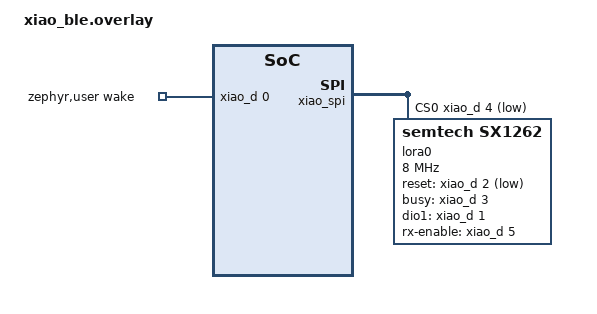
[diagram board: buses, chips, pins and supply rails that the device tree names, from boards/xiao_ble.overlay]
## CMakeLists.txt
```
# SPDX-License-Identifier: Apache-2.0

cmake_minimum_required(VERSION 3.20.0)

# Console (printf/logs) is already over USB CDC ACM: the xiao_ble board enables
# CONFIG_BOARD_SERIAL_BACKEND_CDC_ACM by default. Don't add the cdc-acm-console
# snippet on top: it creates a second, unexposed CDC ACM port and steals
# zephyr,console from the one the host actually sees.

find_package(Zephyr REQUIRED HINTS $ENV{ZEPHYR_BASE})
project(master_node)

target_sources(app PRIVATE src/main.c)
```

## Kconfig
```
# SPDX-License-Identifier: Apache-2.0
mainmenu "Basement surveillance master node"

source "Kconfig.zephyr"

menu "Basement LoRa sender"

config APP_LORA_DEMO
	bool "Periodically send a test ENTRY message"
	default y
	depends on APP_PERSISTENT_IDS
	help
	  Temporary demo only. Disable when replacing main with real application logic.

config APP_PERSISTENT_IDS
	bool "Flash-backed message ID allocator"
	default y
	select FLASH
	select FLASH_MAP
	select FLASH_PAGE_LAYOUT
	select NVS
	select NVS_DATA_CRC
	help
	  Reserve IDs in NVS before use so a reset skips unused IDs instead of reusing them.

config APP_DEVICE_ID
	int "Provisioned node ID (must differ between physical senders)"
	range 1 65535
	default 1

config APP_DEMO_INTERVAL_SECONDS
	int "Sleep after each completed or failed demo session, in seconds"
	range 1 86400
	default 60

config APP_LORA_FREQUENCY
	int "Carrier frequency in Hz (868.0..868.6 MHz profile)"
	range 868000000 868600000
	default 868100000

config APP_LORA_BANDWIDTH
	int "Bandwidth in Hz (125000, 250000 or 500000)"
	default 125000
	help
	  The entire channel must fit inside 868.0..868.6 MHz. Invalid bandwidths fail compilation.

config APP_LORA_SF
	int "Spreading factor (must match border router)"
	range 7 12
	default 7

config APP_LORA_TX_POWER
	int "Nominal transmitter power in dBm"
	range -9 14
	default 14
	help
	  Conservative power range; antenna gain and losses still determine radiated ERP.

config APP_LORA_DUTY_PERMILLE
	int "Sender TX duty fraction in parts per thousand (10 = 1%)"
	range 1 10
	default 10
	help
	  Applies to every DATA, END and retransmission, including failed TX attempts.

config APP_ROUTER_DUTY_PERMILLE
	int "Router TX duty fraction used to size the receive window"
	range 1 10
	default 10
	help
	  Must be no greater than the actual router fraction, otherwise deadlines can be too short.

config APP_ROUTER_QUIET_MS
	int "Router receive quiet period in milliseconds"
	range 0 60000
	default 350

config APP_LORA_FEEDBACK_TIMEOUT_MS
	int "Minimum feedback receive window, milliseconds"
	range 1000 3600000
	default 20000
	help
	  The actual window is increased if the maximum NACK airtime, router duty spacing
	  and quiet period require longer. Each retry listens continuously for this window.

config APP_LORA_END_ATTEMPTS
	int "Maximum END/feedback rounds per message"
	range 1 512
	default 8

config APP_LORA_PACKET_ATTEMPTS
	int "Maximum TX attempts after an I/O error for each DATA or END packet"
	range 1 8
	default 2

endmenu
```

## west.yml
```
# West workspace manifest: pins the Zephyr version for everyone (devcontainer + CI).
# Only the modules this board needs are fetched, to keep the download small.
manifest:
  self:
    path: master-node

  remotes:
    - name: zephyrproject-rtos
      url-base: https://github.com/zephyrproject-rtos

  projects:
    - name: zephyr
      remote: zephyrproject-rtos
      revision: v4.4.2
      import:
        name-allowlist:
          - cmsis_6
          - hal_nordic
          - loramac-node
```

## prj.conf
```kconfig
# LoRa radio (Wio-SX1262, see boards/xiao_ble.overlay)
CONFIG_LORA=y
CONFIG_GPIO=y
CONFIG_PRINTK=y
CONFIG_BOOT_DELAY=5000

CONFIG_LOG=y
CONFIG_LOG_DEFAULT_LEVEL=3
# Hide the USB driver's INF chatter (Reset / SUSPEND / RESUMING); keep warnings
<<<<<<< Updated upstream
CONFIG_UDC_DRIVER_LOG_LEVEL_WRN=y
=======
CONFIG_UDC_DRIVER_LOG_LEVEL_WRN=y



CONFIG_GPIO=y
CONFIG_PRINTK=y
CONFIG_BOOT_DELAY=5000
>>>>>>> Stashed changes
```

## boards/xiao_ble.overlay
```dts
/*
 * Wio-SX1262 LoRa module on the XIAO nRF52840.
 *
 * Module stacked on the XIAO pin headers, as shipped in Seeed's
 * "XIAO nRF52840 + Wio-SX1262" kit (same pinout as Meshtastic variant
 * seeed_xiao_nrf52840_kit). The Wio-SX1262 from the XIAO ESP32-S3 kit is wired
 * differently, so don't swap modules between kits without changing these pins.
 */

#include <zephyr/dt-bindings/lora/sx126x.h>
#include <zephyr/dt-bindings/gpio/gpio.h>

/ {
	zephyr,user {
		wake-gpios = <&xiao_d 0 GPIO_ACTIVE_HIGH>;
	};

	aliases {
		lora0 = &lora0;
	};
};

&xiao_spi {
	status = "okay";
	cs-gpios = <&xiao_d 4 GPIO_ACTIVE_LOW>;		/* D4: NSS */

	lora0: lora@0 {
		compatible = "semtech,sx1262";
		reg = <0>;
		spi-max-frequency = <DT_FREQ_M(8)>;
		reset-gpios = <&xiao_d 2 GPIO_ACTIVE_LOW>;	/* D2 */
		busy-gpios = <&xiao_d 3 GPIO_ACTIVE_HIGH>;	/* D3 */
		dio1-gpios = <&xiao_d 1 GPIO_ACTIVE_HIGH>;	/* D1 */
		rx-enable-gpios = <&xiao_d 5 GPIO_ACTIVE_HIGH>;	/* D5: RF switch RX side */
		dio2-tx-enable;					/* DIO2 drives RF switch TX side */
		dio3-tcxo-voltage = <SX126X_DIO3_TCXO_1V8>;
		tcxo-power-startup-delay-ms = <5>;
	};
};
```

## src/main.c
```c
/*
 * Copyright (c) 2012-2014 Wind River Systems, Inc.
 *
 * SPDX-License-Identifier: Apache-2.0
 */

#include <zephyr/device.h>
#include <zephyr/kernel.h>
#include <zephyr/drivers/gpio.h>
#include <zephyr/sys/util.h>
#include <zephyr/logging/log.h>

LOG_MODULE_REGISTER(master_node, LOG_LEVEL_DBG);

#define LED DT_ALIAS(led0)
#define PIR DT_PATH(zephyr_user)

static const struct gpio_dt_spec led = GPIO_DT_SPEC_GET(LED, gpios);
static const struct gpio_dt_spec wake_pin = GPIO_DT_SPEC_GET(PIR, wake_gpios);

K_SEM_DEFINE(wake_sem,0,1);

static struct gpio_callback wake_cb;

static void wake_interrupt(const struct device* port, struct gpio_callback* cb, gpio_port_pins_t pins){
	ARG_UNUSED(port);
	ARG_UNUSED(cb);
	ARG_UNUSED(pins);

	k_sem_give(&wake_sem);
}

int main(void)
{
	if(!gpio_is_ready_dt(&led) || !gpio_is_ready_dt(&wake_pin)){
		LOG_DBG("Error 0");
		return -1;
	}

	if(gpio_pin_configure_dt(&led, GPIO_OUTPUT_INACTIVE)) {
		LOG_DBG("Error 1");
		return -1;
	}
	if(gpio_pin_configure_dt(&wake_pin, GPIO_INPUT | GPIO_PULL_DOWN)) {
		LOG_DBG("Error 2");
		return -1;
	}

	gpio_init_callback(&wake_cb, wake_interrupt, BIT(wake_pin.pin));
	if(gpio_add_callback(wake_pin.port ,&wake_cb)) {
		LOG_DBG("Error 3");
		return -1;
	}
	if(gpio_pin_interrupt_configure_dt(&wake_pin, GPIO_INT_EDGE_TO_ACTIVE)) {
		LOG_DBG("Error 4");
		return -1;
	}
	
	LOG_INF("master-node up on %s", CONFIG_BOARD_TARGET);

	while(true){
		k_sem_take(&wake_sem, K_FOREVER);

		gpio_pin_set_dt(&led, 1);
		LOG_DBG("Sensed movement");
		k_msleep(2000);
		gpio_pin_set_dt(&led, 0);
	}

	return 0;
}
```

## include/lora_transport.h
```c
/* SPDX-License-Identifier: Apache-2.0 */
#ifndef BS_LORA_TRANSPORT_H
#define BS_LORA_TRANSPORT_H

#include "tx_session.h"

/** Initialize the lora0 SX1262 using Kconfig modulation and the existing board overlay.
 * @return Zero on success; negative errno for absent hardware, unsupported settings or readback failure.
 * Call once from thread context before sending. This component owns the radio exclusively.
 */
int bs_lora_init(void);

/** Deliver an arbitrary binary body using bounded DATA/END/ACK/NACK exchange.
 * @param kind ENTRY, IMAGE or TELEMETRY.
 * @param device_id Provisioned sender identity, unique among nodes.
 * @param message_id Unique application ID, retained across all internal retransmissions.
 * @param data Immutable body kept alive until this blocking call returns.
 * @param size Nonzero body length, up to BS_MESSAGE_MAX.
 * @param result Output delivery statistics; delivery succeeds only after a matching ACK.
 * @return Zero after durable router receipt; negative errno on timeout/error, -EBUSY if another
 *         application thread is already using this radio. Call from thread context, never an ISR.
 */
int bs_lora_send_message(uint8_t kind, uint16_t device_id, uint32_t message_id,
			 const uint8_t *data, size_t size, struct bs_tx_result *result);
#endif
```

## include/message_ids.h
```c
/* SPDX-License-Identifier: Apache-2.0 */
#ifndef BS_MESSAGE_IDS_H
#define BS_MESSAGE_IDS_H
#include <stdint.h>

/** Mount the board's existing storage partition for persistent ID reservations.
 * @return Zero on success, negative errno on corrupt/unavailable storage. Never silently resets IDs.
 */
int bs_message_ids_init(void);

/** Reserve a never-before-issued message ID, committing blocks before exposing IDs.
 * @param message_id Output ID. Serialize callers; the demo calls this only from main.
 * @return Zero on success, negative errno on flash failure or sequence exhaustion.
 * A reset skips unused reserved IDs. Erasing/replacing flash requires reprovisioning the device ID.
 */
int bs_message_id_next(uint32_t *message_id);
#endif
```

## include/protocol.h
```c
/* SPDX-License-Identifier: Apache-2.0 */
#ifndef BS_PROTOCOL_H
#define BS_PROTOCOL_H

#include <stddef.h>
#include <stdint.h>

#define BS_PROTOCOL_VERSION 1U
#define BS_HEADER_SIZE 22U
#define BS_RADIO_MAX 255U
#define BS_PART_MAX (BS_RADIO_MAX - BS_HEADER_SIZE)
#define BS_PART_DEFAULT 200U
#define BS_NACK_MAX 32U
#define BS_CONTROL_MAX (BS_HEADER_SIZE + 1U + 2U * BS_NACK_MAX)
/* Match the actual Python MessageStore limits, not just the wire field widths. */
#define BS_MESSAGE_MAX 1000000U
#define BS_FRAGMENT_MAX 10000U

enum bs_kind {
	BS_ENTRY = 1, BS_IMAGE = 2, BS_TELEMETRY = 3,
	BS_ACK = 4, BS_NACK = 5, BS_END = 6,
};

/** Immutable metadata for one send session; never serialize this native struct directly. */
struct bs_message {
	uint32_t message_id;
	uint32_t total_size;
	uint32_t crc32;
	uint16_t device_id;
	uint16_t count;
	uint16_t part_size;
	uint8_t kind;
};

struct bs_feedback {
	uint16_t missing[BS_NACK_MAX];
	uint8_t missing_count;
	uint8_t kind;
};

/** CRC32/ISO-HDLC (reflected polynomial 0xedb88320), identical to zlib.crc32().
 * @param data Input bytes; may be NULL only when size is zero.
 * @param size Number of input bytes.
 * @return Complete body checksum; empty input yields zero.
 */
uint32_t bs_crc32(const uint8_t *data, size_t size);

/** Validate a nonempty application body and compute stable fragmentation metadata.
 * @param message Output metadata, valid only on success.
 * @param kind ENTRY, IMAGE or TELEMETRY.
 * @param device_id Provisioned sender identity.
 * @param message_id Unique ID reserved before sending, reused for all retries.
 * @param data Body that must remain unchanged for the complete session.
 * @param size Body length, at most BS_MESSAGE_MAX bytes.
 * @param part_size DATA payload length, 1..BS_PART_MAX (normally 200).
 * @return Zero on success, -EINVAL for invalid arguments, -EMSGSIZE for receiver limits.
 */
int bs_message_init(struct bs_message *message, uint8_t kind, uint16_t device_id,
		    uint32_t message_id, const uint8_t *data, size_t size, uint16_t part_size);

/** Encode one DATA frame, using explicit big-endian byte operations.
 * @param message Metadata initialized by bs_message_init().
 * @param data Unchanged full application body.
 * @param size Body length matching the metadata.
 * @param index Zero-based DATA fragment index.
 * @param frame Output packet buffer.
 * @param capacity Available output buffer bytes.
 * @return Encoded frame length or a negative errno value.
 */
int bs_encode_data(const struct bs_message *message, const uint8_t *data, size_t size,
		   uint16_t index, uint8_t *frame, size_t capacity);

/** Encode an END referencing the full message.
 * @param message Validated pending-message metadata.
 * @param frame Output packet buffer.
 * @param capacity Available output bytes (at least 23).
 * @return Encoded length or a negative errno value.
 */
int bs_encode_end(const struct bs_message *message, uint8_t *frame, size_t capacity);

/** Decode ACK/NACK and require every identity/size/checksum field to match.
 * @param message Pending-message metadata.
 * @param frame Received binary radio payload.
 * @param size Received byte count.
 * @param feedback Output ACK or sorted, bounded NACK indices, valid only on success.
 * @return Zero on success; -ENOMSG for another message, -EBADMSG for malformed frames,
 *         or -EINVAL for invalid caller arguments.
 */
int bs_decode_feedback(const struct bs_message *message, const uint8_t *frame, size_t size,
		       struct bs_feedback *feedback);
#endif
```

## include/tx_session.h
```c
/* SPDX-License-Identifier: Apache-2.0 */
#ifndef BS_TX_SESSION_H
#define BS_TX_SESSION_H

#include "protocol.h"
#include <stdint.h>

enum bs_tx_event {
	BS_TX_END, BS_TX_ACK, BS_TX_NACK, BS_TX_MISSING,
	BS_TX_TIMEOUT, BS_TX_IO_ERROR, BS_TX_IGNORED,
};

/** Blocking transport contract. send() includes duty scheduling and charges failed attempts.
 * recv() returns a packet length, -ETIMEDOUT/-EAGAIN, or another negative errno.
 * now_ms() is monotonic. event() is optional and must not access the radio.
 */
struct bs_tx_io {
	void *context;
	int (*send)(void *context, const uint8_t *frame, size_t size);
	int (*recv)(void *context, uint8_t *frame, size_t capacity, uint32_t timeout_ms);
	uint64_t (*now_ms)(void *context);
	void (*event)(void *context, enum bs_tx_event event, int detail);
};

struct bs_tx_options {
	uint32_t feedback_timeout_ms;
	uint16_t part_size;
	uint16_t max_end_attempts;
	uint8_t max_packet_attempts;
};

struct bs_tx_result {
	uint32_t data_attempts;
	uint32_t end_attempts;
	uint32_t ignored_feedback;
	uint16_t fragment_count;
};

/** Compute conservative start-to-start spacing, rounded up in milliseconds.
 * @param airtime_ms Planned TX duration including timing margin.
 * @param duty_permille Allowed fraction in 1..1000; e.g. 10 means 1%.
 * @return Minimum spacing, or zero for invalid duty/zero airtime.
 * The transport charges spacing minus airtime AFTER completion, even on TX failure.
 */
uint64_t bs_tx_spacing_ms(uint32_t airtime_ms, uint16_t duty_permille);

/** Send one whole message, retaining its IDs and checksum across every retransmission.
 * @param io Single-owner blocking radio adapter, or a host fake implementing the contract.
 * @param options Bounded retry counts, fragmentation and a duty-aware feedback deadline.
 * @param kind ENTRY, IMAGE or TELEMETRY.
 * @param device_id Provisioned node identity.
 * @param message_id Persistently reserved ID; not changed by this function.
 * @param data Unchanged body, kept alive until this blocking call returns.
 * @param size Nonzero application byte count.
 * @param result Output counters, including unsuccessful TX attempts.
 * @return Zero ONLY after a matching ACK; -ETIMEDOUT on exhausted END rounds,
 *         transport errno on unrecovered I/O failure, or protocol argument errors.
 * This API owns no queue or thread. A future queue can invoke it from its own worker.
 */
int bs_tx_send(const struct bs_tx_io *io, const struct bs_tx_options *options,
	       uint8_t kind, uint16_t device_id, uint32_t message_id,
	       const uint8_t *data, size_t size, struct bs_tx_result *result);
#endif
```

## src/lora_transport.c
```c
/* SPDX-License-Identifier: Apache-2.0 */
#include "lora_transport.h"

#include <errno.h>
#include <limits.h>
#include <string.h>
#include <zephyr/device.h>
#include <zephyr/drivers/lora.h>
#include <zephyr/kernel.h>
#include <zephyr/logging/log.h>
#include <zephyr/sys/util.h>
/* Existing exports from Zephyr 4.4.2 drivers/lora/loramac-node/sx126x.c.
 * Keep this exact backend dependency isolated; no application SPI/GPIO ownership.
 */
extern void SX126xWriteRegisters(uint16_t address, uint8_t *buffer, uint16_t size);
extern void SX126xReadRegisters(uint16_t address, uint8_t *buffer, uint16_t size);

LOG_MODULE_REGISTER(bs_lora, LOG_LEVEL_INF);

BUILD_ASSERT(IS_ENABLED(CONFIG_LORA_MODULE_BACKEND_LORAMAC_NODE),
	     "The custom sync-word adapter requires the pinned LoRaMac-node backend");
BUILD_ASSERT(DT_NODE_HAS_COMPAT(DT_ALIAS(lora0), semtech_sx1262), "lora0 must be an SX1262");

#if CONFIG_APP_LORA_BANDWIDTH == 125000
#define APP_BANDWIDTH BW_125_KHZ
#elif CONFIG_APP_LORA_BANDWIDTH == 250000
#define APP_BANDWIDTH BW_250_KHZ
#elif CONFIG_APP_LORA_BANDWIDTH == 500000
#define APP_BANDWIDTH BW_500_KHZ
#else
#error "APP_LORA_BANDWIDTH must be 125000, 250000 or 500000"
#endif

static const struct device *const radio = DEVICE_DT_GET(DT_ALIAS(lora0));
static struct lora_modem_config modem = {
	.frequency = CONFIG_APP_LORA_FREQUENCY,
	.bandwidth = APP_BANDWIDTH,
	.datarate = CONFIG_APP_LORA_SF,
	.coding_rate = CR_4_5,
	.preamble_len = 12,
	.tx_power = CONFIG_APP_LORA_TX_POWER,
	.tx = true,
	.iq_inverted = false,
	.public_network = false,
	.packet_crc_disable = false,
};
static K_MUTEX_DEFINE(session_lock);
static uint64_t next_tx_ms;
static uint32_t feedback_timeout_ms;
static uint16_t part_size;
static bool initialized;

/* lora_config() puts the chip into warm sleep. The pinned register accessors wake it
 * through the driver's own SPI/GPIO implementation and retain these settings across
 * subsequent warm sleeps. This is the ONLY use of a backend-specific API.
 * Zephyr 4.4.2's public bool public_network cannot represent raw 0x0741.
 */
static int configure(bool tx)
{
	modem.tx = tx;
	int ret = lora_config(radio, &modem);

	if (ret < 0) {
		return ret;
	}
	uint8_t desired[] = {0x07, 0x41};
	uint8_t actual[2] = {0};

	SX126xWriteRegisters(0x0740, desired, sizeof(desired));
	SX126xReadRegisters(0x0740, actual, sizeof(actual));
	if (memcmp(desired, actual, sizeof(actual)) != 0) {
		LOG_ERR("Sync word readback failed: %02x%02x", actual[0], actual[1]);
		return -EIO;
	}
	return 0;
}

static uint64_t now_ms(void *context)
{
	ARG_UNUSED(context);
	return (uint64_t)k_uptime_get();
}

static int send_frame(void *context, const uint8_t *frame, size_t size)
{
	ARG_UNUSED(context);
	if (frame == NULL || size == 0 || size > BS_RADIO_MAX) {
		return -EINVAL;
	}
	uint64_t now = now_ms(NULL);

	if (now < next_tx_ms) {
		LOG_INF("Duty-cycle delay: %llu ms", (unsigned long long)(next_tx_ms - now));
		k_msleep((int64_t)(next_tx_ms - now));
	}
	int ret = configure(true);

	if (ret < 0) {
		return ret;
	}
	/* The driver queries its actual configured modulation. Round up and include
	 * oscillator/PA/timing margin. Failed transmissions consume the same allowance.
	 */
	uint32_t airtime_ms = lora_airtime(radio, (uint32_t)size) + 5U;
	uint8_t packet[BS_RADIO_MAX];

	memcpy(packet, frame, size);
	ret = lora_send(radio, packet, (uint32_t)size);
	/* Charge from completion, which is conservative if the call returned early.
	 * Strict spacing bounds TX duty without keeping an hourly packet ledger.
	 */
	next_tx_ms = now_ms(NULL) + bs_tx_spacing_ms(airtime_ms, CONFIG_APP_LORA_DUTY_PERMILLE) -
		     airtime_ms;
	return ret;
}

static int receive_frame(void *context, uint8_t *frame, size_t capacity, uint32_t timeout_ms)
{
	ARG_UNUSED(context);
	if (capacity == 0 || capacity > BS_RADIO_MAX || timeout_ms == 0) {
		return -EINVAL;
	}
	uint64_t deadline = now_ms(NULL) + timeout_ms;
	int ret = configure(false);

	if (ret < 0) {
		return ret;
	}
	uint64_t now = now_ms(NULL);

	if (now >= deadline) {
		return -ETIMEDOUT;
	}
	int16_t rssi;
	int8_t snr;

	ret = lora_recv(radio, frame, (uint8_t)capacity, K_MSEC(deadline - now), &rssi, &snr);
	/* The pinned backend returns -EAGAIN when k_poll times out. Each subsequent
	 * operation reconfigures the released modem, recovering ordinary TX/RX timeouts.
	 */
	if (ret > 0) {
		LOG_DBG("RX %d bytes RSSI=%d SNR=%d", ret, rssi, snr);
	}
	return ret;
}

static void session_event(void *context, enum bs_tx_event event, int detail)
{
	ARG_UNUSED(context);
	switch (event) {
	case BS_TX_END:
		LOG_INF("END attempt %d/%d", detail, CONFIG_APP_LORA_END_ATTEMPTS);
		break;
	case BS_TX_ACK:
		LOG_INF("Matching ACK received (round %d)", detail);
		break;
	case BS_TX_NACK:
		LOG_INF("Matching NACK requests %d fragments", detail);
		break;
	case BS_TX_MISSING:
		LOG_INF("Retransmitting missing fragment %d", detail);
		break;
	case BS_TX_TIMEOUT:
		LOG_WRN("Feedback timeout after END round %d; retry END only", detail);
		break;
	case BS_TX_IO_ERROR:
		LOG_WRN("Packet TX failed: %d; bounded retry", detail);
		break;
	case BS_TX_IGNORED:
		LOG_DBG("Ignored malformed/unrelated feedback (%d bytes)", detail);
		break;
	}
}

int bs_lora_init(void)
{
	if (initialized) {
		return -EALREADY;
	}
	if (!device_is_ready(radio)) {
		LOG_ERR("lora0 is not ready; check the overlay, BUSY, DIO1 and power");
		return -ENODEV;
	}
	if (CONFIG_APP_LORA_FREQUENCY - CONFIG_APP_LORA_BANDWIDTH / 2 < 868000000 ||
	    CONFIG_APP_LORA_FREQUENCY + CONFIG_APP_LORA_BANDWIDTH / 2 > 868600000) {
		LOG_ERR("Configured channel does not fit the 868.0..868.6 MHz duty profile");
		return -EINVAL;
	}
	int ret = configure(true);

	if (ret < 0) {
		return ret;
	}
	/* On reboot there is no trustworthy elapsed wall time. Wait a full maximum-
	 * packet spacing so cycling power cannot shorten the previous TX's off-time.
	 */
	/* The pinned backend gives Radio.SetTxConfig a 4000 ms software timeout.
	 * Keep DATA below 3750 ms at slow SFs rather than changing private timer state.
	 * Fragment size is not part of the PHY settings and is legal in protocol v1.
	 */
	part_size = BS_PART_DEFAULT;
	while (part_size > 1U && lora_airtime(radio, BS_HEADER_SIZE + part_size) > 3750U) {
		--part_size;
	}
	if (lora_airtime(radio, BS_HEADER_SIZE + part_size) > 3750U) {
		return -ENOTSUP;
	}
	uint32_t max_airtime = lora_airtime(radio, BS_RADIO_MAX) + 5U;

	next_tx_ms = now_ms(NULL) + bs_tx_spacing_ms(max_airtime, CONFIG_APP_LORA_DUTY_PERMILLE);
	/* A preceding maximum-size NACK can defer the router's next feedback. Include
	 * its default 1% spacing, quiet time, response airtime and scheduling margin.
	 */
	uint32_t reply_airtime = lora_airtime(radio, BS_CONTROL_MAX) + 5U;
	uint64_t reply_window = bs_tx_spacing_ms(reply_airtime, CONFIG_APP_ROUTER_DUTY_PERMILLE) +
				 reply_airtime + CONFIG_APP_ROUTER_QUIET_MS + 2000U;

	if (reply_window > UINT32_MAX) {
		return -ERANGE;
	}
	feedback_timeout_ms = MAX(CONFIG_APP_LORA_FEEDBACK_TIMEOUT_MS, (uint32_t)reply_window);
	initialized = true;
	LOG_INF("SX1262 %u Hz SF%d BW%u CR4/5 sync=0741 preamble=12 CRC=on",
		CONFIG_APP_LORA_FREQUENCY, CONFIG_APP_LORA_SF, CONFIG_APP_LORA_BANDWIDTH);
	LOG_INF("TX duty=%d/1000; feedback window=%u ms; boot guard=%u ms; DATA chunk=%u",
		CONFIG_APP_LORA_DUTY_PERMILLE, feedback_timeout_ms,
		(uint32_t)(next_tx_ms - now_ms(NULL)), part_size);
	return 0;
}

int bs_lora_send_message(uint8_t kind, uint16_t device_id, uint32_t message_id,
			 const uint8_t *data, size_t size, struct bs_tx_result *result)
{
	if (!initialized) {
		return -ENODEV;
	}
	if (k_mutex_lock(&session_lock, K_NO_WAIT) != 0) {
		return -EBUSY;
	}
	const struct bs_tx_io io = {
		.send = send_frame, .recv = receive_frame, .now_ms = now_ms, .event = session_event,
	};
	const struct bs_tx_options options = {
		.feedback_timeout_ms = feedback_timeout_ms,
		.part_size = part_size,
		.max_end_attempts = CONFIG_APP_LORA_END_ATTEMPTS,
		.max_packet_attempts = CONFIG_APP_LORA_PACKET_ATTEMPTS,
	};
	int ret = bs_tx_send(&io, &options, kind, device_id, message_id, data, size, result);

	k_mutex_unlock(&session_lock);
	return ret;
}
```

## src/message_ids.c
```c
/* SPDX-License-Identifier: Apache-2.0 */
#include "message_ids.h"

#include <errno.h>
#include <stdbool.h>
#include <zephyr/drivers/flash.h>
#include <zephyr/kvss/nvs.h>
#include <zephyr/storage/flash_map.h>
#include <zephyr/sys/byteorder.h>

#define ID_RECORD 1U
#define RESERVATION_SIZE 32U

static struct nvs_fs ids;
static uint32_t next_id;
static uint32_t reserved_until;
static bool mounted;

int bs_message_ids_init(void)
{
	if (mounted) {
		return -EALREADY;
	}
	const struct flash_area *area;
	struct flash_pages_info page;
	int ret = flash_area_open(PARTITION_ID(storage_partition), &area);

	if (ret < 0) {
		return ret;
	}
	ids.flash_device = area->fa_dev;
	ids.offset = area->fa_off;
	ret = flash_get_page_info_by_offs(ids.flash_device, ids.offset, &page);
	if (ret == 0 && (area->fa_size / page.size < 2U || area->fa_size % page.size != 0 ||
			 area->fa_size / page.size > UINT16_MAX)) {
		ret = -EINVAL;
	}
	if (ret == 0) {
		ids.sector_size = page.size;
		ids.sector_count = area->fa_size / page.size;
		ret = nvs_mount(&ids);
	}
	flash_area_close(area);
	if (ret < 0) {
		return ret;
	}
	uint8_t value[4];
	ssize_t bytes = nvs_read(&ids, ID_RECORD, value, sizeof(value));

	if (bytes == -ENOENT) {
		next_id = 1;
	} else if (bytes != (ssize_t)sizeof(value)) {
		return bytes < 0 ? (int)bytes : -EIO;
	} else {
		next_id = sys_get_le32(value);
		if (next_id == 0) {
			return -EIO;
		}
	}
	reserved_until = next_id;
	mounted = true;
	return 0;
}

int bs_message_id_next(uint32_t *message_id)
{
	if (!mounted || message_id == NULL) {
		return -EINVAL;
	}
	if (next_id == reserved_until) {
		if (next_id > UINT32_MAX - RESERVATION_SIZE) {
			return -EOVERFLOW;
		}
		uint8_t value[4];
		uint32_t high_water = next_id + RESERVATION_SIZE;

		sys_put_le32(high_water, value);
		ssize_t ret = nvs_write(&ids, ID_RECORD, value, sizeof(value));

		if (ret < 0) {
			return (int)ret;
		}
		if (ret != 0 && ret != (ssize_t)sizeof(value)) {
			return -EIO;
		}
		reserved_until = high_water;
	}
	*message_id = next_id++;
	return 0;
}
```

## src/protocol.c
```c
/* SPDX-License-Identifier: Apache-2.0 */
#include "protocol.h"

#include <errno.h>
#include <stdbool.h>

static uint16_t get16(const uint8_t *p)
{
	return ((uint16_t)p[0] << 8) | p[1];
}

static uint32_t get32(const uint8_t *p)
{
	return ((uint32_t)p[0] << 24) | ((uint32_t)p[1] << 16) |
	       ((uint32_t)p[2] << 8) | p[3];
}

static void put16(uint8_t *p, uint16_t value)
{
	p[0] = (uint8_t)(value >> 8);
	p[1] = (uint8_t)value;
}

static void put32(uint8_t *p, uint32_t value)
{
	p[0] = (uint8_t)(value >> 24);
	p[1] = (uint8_t)(value >> 16);
	p[2] = (uint8_t)(value >> 8);
	p[3] = (uint8_t)value;
}

static bool data_kind(uint8_t kind)
{
	return kind >= BS_ENTRY && kind <= BS_TELEMETRY;
}

static bool valid_message(const struct bs_message *m)
{
	return m != NULL && data_kind(m->kind) && m->total_size > 0 &&
	       m->total_size <= BS_MESSAGE_MAX && m->part_size > 0 &&
	       m->part_size <= BS_PART_MAX && m->count > 0 && m->count <= BS_FRAGMENT_MAX &&
	       m->count == (m->total_size + m->part_size - 1U) / m->part_size;
}

uint32_t bs_crc32(const uint8_t *data, size_t size)
{
	uint32_t crc = UINT32_MAX;

	for (size_t i = 0; i < size; ++i) {
		crc ^= data[i];
		for (unsigned bit = 0; bit < 8; ++bit) {
			crc = (crc >> 1) ^ ((crc & 1U) ? UINT32_C(0xedb88320) : 0U);
		}
	}
	return ~crc;
}

int bs_message_init(struct bs_message *m, uint8_t kind, uint16_t device_id,
		    uint32_t message_id, const uint8_t *data, size_t size, uint16_t part_size)
{
	if (m == NULL || data == NULL || size == 0 || !data_kind(kind) ||
	    part_size == 0 || part_size > BS_PART_MAX) {
		return -EINVAL;
	}
	if (size > BS_MESSAGE_MAX) {
		return -EMSGSIZE;
	}
	size_t count = (size + part_size - 1U) / part_size;

	if (count > BS_FRAGMENT_MAX) {
		return -EMSGSIZE;
	}
	*m = (struct bs_message) {
		.message_id = message_id, .total_size = (uint32_t)size,
		.crc32 = bs_crc32(data, size), .device_id = device_id,
		.count = (uint16_t)count, .part_size = part_size, .kind = kind,
	};
	return 0;
}

static void encode_header(const struct bs_message *m, uint8_t kind,
			  uint16_t index, uint8_t *frame)
{
	frame[0] = 'B';
	frame[1] = 'S';
	frame[2] = BS_PROTOCOL_VERSION;
	frame[3] = kind;
	put16(frame + 4, m->device_id);
	put32(frame + 6, m->message_id);
	put16(frame + 10, index);
	put16(frame + 12, m->count);
	put32(frame + 14, m->total_size);
	put32(frame + 18, m->crc32);
}

int bs_encode_data(const struct bs_message *m, const uint8_t *data, size_t size,
		   uint16_t index, uint8_t *frame, size_t capacity)
{
	if (!valid_message(m) || data == NULL || frame == NULL ||
	    size != m->total_size || index >= m->count) {
		return -EINVAL;
	}
	size_t offset = (size_t)index * m->part_size;
	size_t bytes = size - offset;

	if (bytes > m->part_size) {
		bytes = m->part_size;
	}
	if (capacity < BS_HEADER_SIZE + bytes) {
		return -ENOBUFS;
	}
	encode_header(m, m->kind, index, frame);
	for (size_t i = 0; i < bytes; ++i) {
		frame[BS_HEADER_SIZE + i] = data[offset + i];
	}
	return (int)(BS_HEADER_SIZE + bytes);
}

int bs_encode_end(const struct bs_message *m, uint8_t *frame, size_t capacity)
{
	if (!valid_message(m) || frame == NULL) {
		return -EINVAL;
	}
	if (capacity < BS_HEADER_SIZE + 1U) {
		return -ENOBUFS;
	}
	encode_header(m, BS_END, 0, frame);
	frame[BS_HEADER_SIZE] = m->kind;
	return BS_HEADER_SIZE + 1U;
}

int bs_decode_feedback(const struct bs_message *m, const uint8_t *frame, size_t size,
		       struct bs_feedback *feedback)
{
	if (!valid_message(m) || frame == NULL || feedback == NULL) {
		return -EINVAL;
	}
	if (size < BS_HEADER_SIZE + 1U || size > BS_CONTROL_MAX ||
	    frame[0] != 'B' || frame[1] != 'S' || frame[2] != BS_PROTOCOL_VERSION ||
	    (frame[3] != BS_ACK && frame[3] != BS_NACK) || get16(frame + 10) != 0 ||
	    !data_kind(frame[BS_HEADER_SIZE])) {
		return -EBADMSG;
	}
	uint16_t count = get16(frame + 12);
	uint32_t total = get32(frame + 14);
	size_t missing = (size - BS_HEADER_SIZE - 1U) / 2U;

	if (count == 0 || total < count || total > (uint32_t)count * BS_PART_MAX ||
	    (frame[3] == BS_ACK && size != BS_HEADER_SIZE + 1U) ||
	    (frame[3] == BS_NACK && (missing == 0 || missing > BS_NACK_MAX ||
				  (size - BS_HEADER_SIZE - 1U) % 2U != 0))) {
		return -EBADMSG;
	}
	struct bs_feedback result = {.kind = frame[3], .missing_count = (uint8_t)missing};

	for (size_t i = 0; i < missing; ++i) {
		uint16_t index = get16(frame + BS_HEADER_SIZE + 1U + 2U * i);

		if (index >= count || (i > 0 && index <= result.missing[i - 1U])) {
			return -EBADMSG;
		}
		result.missing[i] = index;
	}
	if (get16(frame + 4) != m->device_id || get32(frame + 6) != m->message_id ||
	    count != m->count || total != m->total_size ||
	    get32(frame + 18) != m->crc32 || frame[BS_HEADER_SIZE] != m->kind) {
		return -ENOMSG;
	}
	*feedback = result;
	return 0;
}
```

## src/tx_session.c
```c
/* SPDX-License-Identifier: Apache-2.0 */
#include "tx_session.h"

#include <errno.h>
#include <stddef.h>
#include <stdbool.h>
#include <string.h>

uint64_t bs_tx_spacing_ms(uint32_t airtime_ms, uint16_t duty_permille)
{
	if (airtime_ms == 0 || duty_permille == 0 || duty_permille > 1000) {
		return 0;
	}
	return ((uint64_t)airtime_ms * 1000U + duty_permille - 1U) / duty_permille;
}

static void event(const struct bs_tx_io *io, enum bs_tx_event code, int detail)
{
	if (io->event != NULL) {
		io->event(io->context, code, detail);
	}
}

static int send_packet(const struct bs_tx_io *io, const struct bs_tx_options *options,
		       const uint8_t *frame, size_t size, uint32_t *attempts)
{
	int ret = -EIO;

	for (unsigned i = 0; i < options->max_packet_attempts; ++i) {
		++*attempts;
		ret = io->send(io->context, frame, size);
		if (ret == 0) {
			return 0;
		}
		event(io, BS_TX_IO_ERROR, ret);
	}
	return ret;
}

int bs_tx_send(const struct bs_tx_io *io, const struct bs_tx_options *options,
	       uint8_t kind, uint16_t device_id, uint32_t message_id,
	       const uint8_t *data, size_t size, struct bs_tx_result *result)
{
	if (io == NULL || options == NULL || result == NULL || io->send == NULL ||
	    io->recv == NULL || io->now_ms == NULL || options->max_end_attempts == 0 ||
	    options->max_packet_attempts == 0 || options->feedback_timeout_ms == 0) {
		return -EINVAL;
	}
	memset(result, 0, sizeof(*result));
	struct bs_message message;
	struct bs_feedback feedback;
	uint8_t packet[BS_RADIO_MAX];
	int ret = bs_message_init(&message, kind, device_id, message_id,
				 data, size, options->part_size);

	if (ret < 0) {
		return ret;
	}
	result->fragment_count = message.count;
	/* Initial DATA burst. The transport paces every packet, including retries. */
	for (uint16_t i = 0; i < message.count; ++i) {
		ret = bs_encode_data(&message, data, size, i, packet, sizeof(packet));
		if (ret < 0) {
			return ret;
		}
		ret = send_packet(io, options, packet, (size_t)ret, &result->data_attempts);
		if (ret < 0) {
			return ret;
		}
	}
	for (unsigned round = 0; round < options->max_end_attempts; ++round) {
		ret = bs_encode_end(&message, packet, sizeof(packet));
		if (ret < 0) {
			return ret;
		}
		event(io, BS_TX_END, (int)(round + 1U));
		ret = send_packet(io, options, packet, (size_t)ret, &result->end_attempts);
		if (ret < 0) {
			return ret;
		}
		uint64_t deadline = io->now_ms(io->context) + options->feedback_timeout_ms;
		bool have_nack = false;

		while (true) {
			uint64_t now = io->now_ms(io->context);

			if (now >= deadline) {
				break;
			}
			uint64_t remaining = deadline - now;
			ret = io->recv(io->context, packet, sizeof(packet), (uint32_t)remaining);
			if (ret == -ETIMEDOUT || ret == -EAGAIN) {
				break;
			}
			if (ret < 0) {
				return ret;
			}
			if (bs_decode_feedback(&message, packet, (size_t)ret, &feedback) < 0) {
				++result->ignored_feedback;
				event(io, BS_TX_IGNORED, ret);
				continue;
			}
			if (feedback.kind == BS_ACK) {
				event(io, BS_TX_ACK, (int)(round + 1U));
				return 0;
			}
			event(io, BS_TX_NACK, feedback.missing_count);
			have_nack = true;
			break;
		}
		if (!have_nack) {
			event(io, BS_TX_TIMEOUT, (int)(round + 1U));
			/* Lost feedback retries ONLY END, never the DATA burst. */
			continue;
		}
		if (round + 1U == options->max_end_attempts) {
			break;
		}
		for (unsigned i = 0; i < feedback.missing_count; ++i) {
			event(io, BS_TX_MISSING, feedback.missing[i]);
			ret = bs_encode_data(&message, data, size, feedback.missing[i],
					     packet, sizeof(packet));
			if (ret < 0) {
				return ret;
			}
			ret = send_packet(io, options, packet, (size_t)ret, &result->data_attempts);
			if (ret < 0) {
				return ret;
			}
		}
	}
	return -ETIMEDOUT;
}
```
